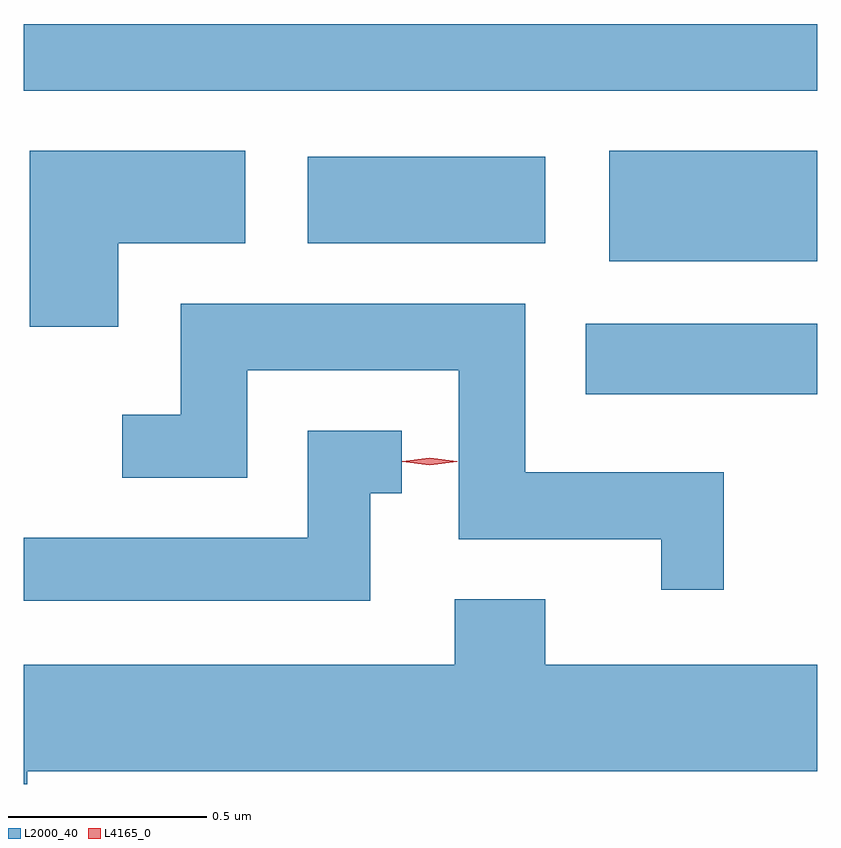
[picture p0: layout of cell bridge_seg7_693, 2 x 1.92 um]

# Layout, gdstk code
import gdstk
lib = gdstk.Library(unit=1e-6, precision=1e-09)
def R(c, l, rs):  # rectangles x0, y0, x1, y1
    for r in rs: c.add(gdstk.rectangle(r[:2], r[2:], *l))
def P(c, l, *ps):  # polygons
    for p in ps: c.add(gdstk.Polygon(p, *l))
L2000_40 = (2000, 40)
L4165_0 = (4165, 0)

bridge_seg7_693 = lib.new_cell('bridge_seg7_693')
R(bridge_seg7_693, L2000_40, [(983.391,1733.026,983.975,1733.204), (983.451,1733.361,983.975,1733.639), (982.691,1733.406,983.289,1733.624), (981.975,1733.791,983.975,1733.959)])
P(bridge_seg7_693, L2000_40, [(982.214,1733.406),(982.534,1733.406),(982.534,1733.639),(981.991,1733.639),(981.991,1733.196),(982.214,1733.196)],
  [(983.739,1732.829),(983.239,1732.829),(983.239,1733.254),(982.371,1733.254),(982.371,1732.974),(982.223,1732.974),(982.223,1732.816),(982.539,1732.816),(982.539,1733.086),(983.071,1733.086),(983.071,1732.661),(983.581,1732.661),(983.581,1732.533),(983.739,1732.533)],
  [(982.849,1732.776),(982.928,1732.776),(982.928,1732.934),(982.691,1732.934),(982.691,1732.664),(981.975,1732.664),(981.975,1732.506),(982.849,1732.506)],
  [(981.984,1732.076),(983.975,1732.076),(983.975,1732.344),(983.289,1732.344),(983.289,1732.509),(983.061,1732.509),(983.061,1732.344),(981.975,1732.344),(981.975,1732.044),(981.984,1732.044)])
P(bridge_seg7_693, L4165_0, [(982.998,1732.847),(982.929,1732.856),(982.929,1732.856),(982.929,1732.857),(982.998,1732.866),(983.068,1732.857),(983.068,1732.857),(983.068,1732.856)])

lib.write_gds('bridge_seg7_693.gds')
